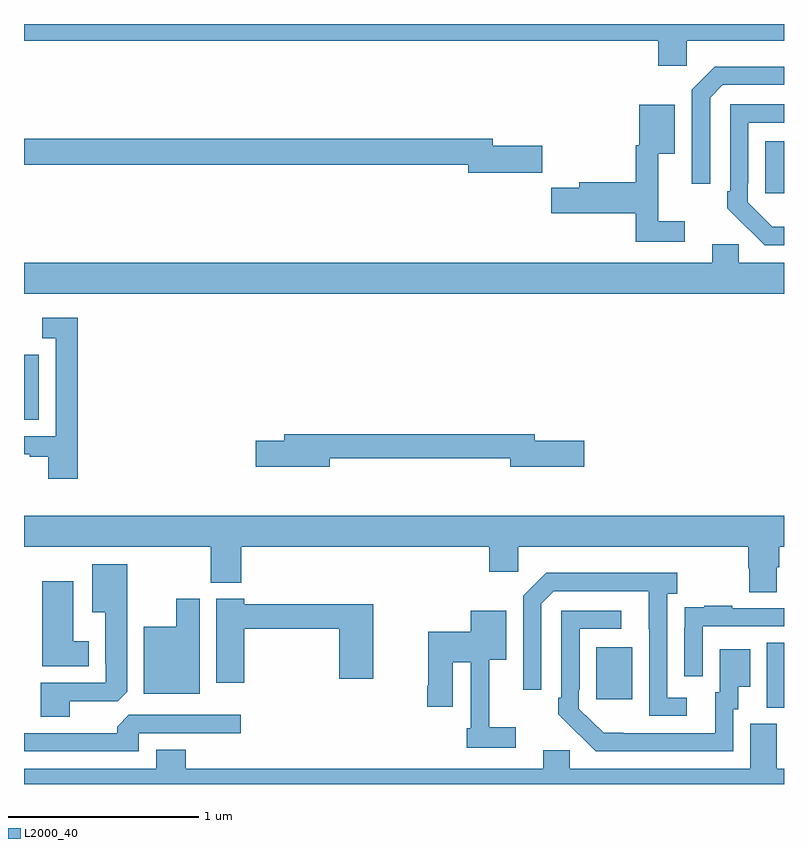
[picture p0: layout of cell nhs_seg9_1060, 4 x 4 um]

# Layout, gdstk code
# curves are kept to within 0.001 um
import gdstk
lib = gdstk.Library(unit=1e-6, precision=1e-09)
def R(c, l, rs):  # rectangles x0, y0, x1, y1
    for r in rs: c.add(gdstk.rectangle(r[:2], r[2:], *l))
def P(c, l, *ps):  # polygons
    for p in ps: c.add(gdstk.Polygon(p, *l))
L2000_40 = (2000, 40)

nhs_seg9_1060 = lib.new_cell('nhs_seg9_1060')
R(nhs_seg9_1060, L2000_40, [(172.91,1200.901,173,1201.244), (172.013,1200.945,172.201,1201.219), (169,1202.416,169.078,1202.76), (172.901,1203.609,173,1203.883)])
P(nhs_seg9_1060, L2000_40, [(172.488,1204.412),(173,1204.412),(173,1204.5),(169,1204.5),(169,1204.412),(172.337,1204.412),(172.337,1204.281),(172.488,1204.281)],
  [(172.611,1204.113),(172.677,1204.179),(173,1204.179),(173,1204.276),(172.636,1204.276),(172.515,1204.155),(172.515,1203.66),(172.611,1203.66)],
  [(173,1203.433),(172.938,1203.433),(172.809,1203.561),(172.809,1203.661),(172.812,1203.661),(172.812,1203.981),(173,1203.981),(173,1204.077),(172.716,1204.077),(172.716,1203.619),(172.701,1203.619),(172.701,1203.531),(172.898,1203.336),(173,1203.336)],
  [(172.477,1203.463),(172.337,1203.463),(172.337,1203.818),(172.426,1203.818),(172.426,1204.075),(172.238,1204.075),(172.238,1203.861),(172.219,1203.861),(172.219,1203.668),(171.923,1203.668),(171.923,1203.638),(171.774,1203.638),(171.774,1203.503),(172.219,1203.503),(172.219,1203.354),(172.477,1203.354)],
  [(171.727,1203.86),(171.466,1203.86),(171.466,1203.896),(169,1203.896),(169,1203.76),(171.338,1203.76),(171.338,1203.718),(171.727,1203.718)],
  [(173,1203.244),(172.761,1203.244),(172.761,1203.342),(172.622,1203.342),(172.622,1203.244),(169,1203.244),(169,1203.08),(173,1203.08)],
  [(169.283,1202.953),(169.095,1202.953),(169.095,1202.847),(169.167,1202.847),(169.167,1202.331),(169,1202.331),(169,1202.235),(169.031,1202.235),(169.031,1202.223),(169.127,1202.223),(169.127,1202.106),(169.283,1202.106)],
  [(170.608,1202.214),(171.56,1202.214),(171.56,1202.171),(171.949,1202.171),(171.949,1202.306),(171.688,1202.306),(171.688,1202.342),(170.369,1202.342),(170.369,1202.306),(170.22,1202.306),(170.22,1202.171),(170.608,1202.171)],
  [(172.963,1201.642),(172.976,1201.642),(172.976,1201.748),(173,1201.748),(173,1201.912),(169,1201.912),(169,1201.748),(169.984,1201.748),(169.984,1201.559),(170.144,1201.559),(170.144,1201.748),(171.449,1201.748),(171.449,1201.617),(171.6,1201.617),(171.6,1201.748),(172.811,1201.748),(172.811,1201.635),(172.816,1201.635),(172.816,1201.51),(172.963,1201.51)],
  [(169.24,1200.936),(169.494,1200.936),(169.543,1200.985),(169.543,1201.657),(169.358,1201.657),(169.358,1201.403),(169.427,1201.403),(169.427,1201.129),(169.431,1201.129),(169.431,1201.032),(169.088,1201.032),(169.088,1200.853),(169.24,1200.853)],
  [(172.489,1200.954),(172.386,1200.954),(172.386,1201.502),(172.438,1201.502),(172.438,1201.612),(171.748,1201.612),(171.627,1201.491),(171.627,1200.996),(171.723,1200.996),(171.723,1201.449),(171.789,1201.515),(172.289,1201.515),(172.29,1200.858),(172.489,1200.858)],
  [(169.342,1201.252),(169.258,1201.252),(169.258,1201.567),(169.097,1201.567),(169.097,1201.121),(169.342,1201.121)],
  [(170.159,1201.318),(170.66,1201.318),(170.66,1201.053),(170.838,1201.053),(170.838,1201.447),(170.159,1201.447),(170.159,1201.474),(170.012,1201.474),(170.012,1201.032),(170.159,1201.032)],
  [(169.924,1201.474),(169.802,1201.474),(169.802,1201.327),(169.631,1201.327),(169.631,1200.974),(169.924,1200.974)],
  [(172.572,1201.329),(173,1201.329),(173,1201.425),(172.727,1201.425),(172.727,1201.438),(172.579,1201.438),(172.579,1201.431),(172.477,1201.431),(172.477,1201.322),(172.476,1201.322),(172.476,1201.068),(172.572,1201.068)],
  [(172.734,1200.894),(172.759,1200.894),(172.759,1201.013),(172.822,1201.013),(172.822,1201.21),(172.661,1201.21),(172.661,1200.984),(172.637,1200.984),(172.637,1200.768),(172.05,1200.769),(171.921,1200.897),(171.921,1200.997),(171.924,1200.997),(171.924,1201.317),(172.144,1201.317),(172.144,1201.413),(171.828,1201.413),(171.828,1200.955),(171.813,1200.955),(171.813,1200.867),(172.01,1200.672),(172.734,1200.672)],
  [(171.589,1200.799),(171.449,1200.799),(171.449,1201.154),(171.538,1201.154),(171.538,1201.411),(171.35,1201.411),(171.35,1201.302),(171.127,1201.302),(171.127,1201.018),(171.122,1201.018),(171.122,1200.906),(171.256,1200.906),(171.256,1201.142),(171.351,1201.142),(171.351,1200.793),(171.331,1200.793),(171.331,1200.69),(171.589,1200.69)],
  [(169.605,1200.768),(170.14,1200.768),(170.14,1200.864),(169.551,1200.864),(169.49,1200.802),(169.49,1200.768),(169,1200.768),(169,1200.672),(169.605,1200.672)],
  [(173,1200.58),(172.963,1200.58),(172.963,1200.816),(172.823,1200.816),(172.823,1200.58),(171.873,1200.58),(171.873,1200.678),(171.734,1200.678),(171.734,1200.58),(169.85,1200.58),(169.85,1200.679),(169.697,1200.679),(169.697,1200.58),(169,1200.58),(169,1200.5),(173,1200.5)])

lib.write_gds('nhs_seg9_1060.gds')
